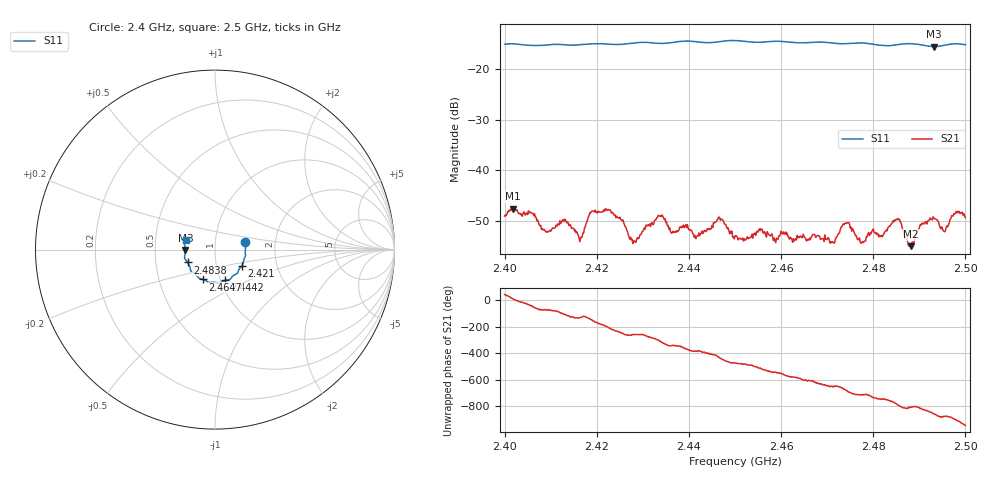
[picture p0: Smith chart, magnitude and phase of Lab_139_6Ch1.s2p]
# Hz S RI R 50
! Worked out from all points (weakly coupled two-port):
!   601 points, 2.4 GHz to 2.5 GHz, reference 50 ohm
!   highest |S21| = -47.49 dB at 2.4018 GHz (marker M1); lowest = -54.9 dB at 2.4882 GHz (marker M2)
!   lowest |S11| = -15.7 dB at 2.4932 GHz (marker M3), VSWR 1.40, Z = 35.8 - j0.0996 ohm
!   |S11| at or under -10 dB: start of sweep to end of sweep
!   S12 and S22 are empty: the file has one direction only
!   S11 on the Smith chart (normalised r, x): 2.4 GHz: 1.40, +0.12; 2.421 GHz: 1.33, -0.24; 2.4442 GHz: 1.05, -0.37; 2.4647 GHz: 0.83, -0.28; 2.4838 GHz: 0.73, -0.11; 2.5 GHz: 0.72, +0.08
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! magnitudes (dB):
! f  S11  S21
! 2.4 GHz  -15.2  -49.0
! 2.4018 GHz  -15.1  -47.5
! 2.4167 GHz  -15.3  -53.2
! 2.4187 GHz  -15.1  -48.3
! 2.421 GHz  -15.1  -48.2
! 2.428 GHz  -15.0  -53.9
! 2.4333 GHz  -15.0  -48.8
! 2.4365 GHz  -14.9  -52.0
! 2.4442 GHz  -14.9  -51.5
! 2.4468 GHz  -14.7  -49.8
! 2.45 GHz  -14.5  -52.9
! 2.4647 GHz  -14.9  -53.1
! 2.4667 GHz  -14.8  -53.0
! 2.4743 GHz  -15.1  -50.3
! 2.4777 GHz  -15.0  -54.0
! 2.4833 GHz  -15.5  -51.1
! 2.4838 GHz  -15.5  -50.6
! 2.4855 GHz  -15.3  -49.7
! 2.4882 GHz  -15.1  -54.9
! 2.4932 GHz  -15.7  -49.3
! 2.4952 GHz  -15.5  -51.9
! 2.5 GHz  -15.3  -49.3
